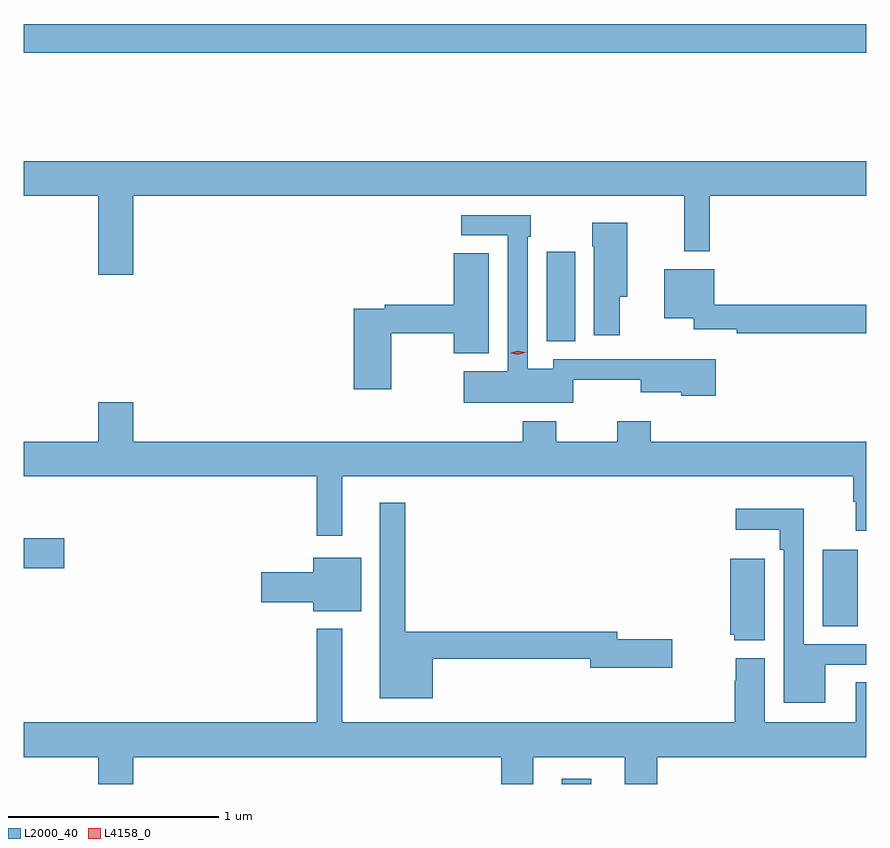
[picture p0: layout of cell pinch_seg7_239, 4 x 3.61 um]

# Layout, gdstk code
import gdstk
lib = gdstk.Library(unit=1e-6, precision=1e-09)
def R(c, l, rs):  # rectangles x0, y0, x1, y1
    for r in rs: c.add(gdstk.rectangle(r[:2], r[2:], *l))
def P(c, l, *ps):  # polygons
    for p in ps: c.add(gdstk.Polygon(p, *l))
L2000_40 = (2000, 40)
L4158_0 = (4158, 0)

pinch_seg7_239 = lib.new_cell('pinch_seg7_239')
R(pinch_seg7_239, L2000_40, [(826.547,1068.42,826.687,1068.445), (827.786,1069.168,827.953,1069.531), (823.993,1069.445,824.185,1069.587), (826.475,1070.521,826.612,1070.947), (823.993,1071.892,827.993,1072.028)])
P(pinch_seg7_239, L2000_40, [(824.512,1071.212),(827.128,1071.212),(827.128,1070.949),(827.249,1070.949),(827.249,1071.212),(827.993,1071.212),(827.993,1071.376),(823.993,1071.376),(823.993,1071.212),(824.348,1071.212),(824.348,1070.838),(824.512,1070.838)],
  [(826.602,1070.339),(826.922,1070.339),(826.922,1070.279),(827.115,1070.279),(827.115,1070.264),(827.279,1070.264),(827.279,1070.437),(827.026,1070.437),(827.026,1070.436),(826.506,1070.436),(826.506,1070.392),(826.386,1070.392),(826.386,1071.017),(826.399,1071.017),(826.399,1071.12),(826.071,1071.12),(826.071,1071.024),(826.29,1071.024),(826.29,1070.38),(826.083,1070.38),(826.083,1070.231),(826.602,1070.231)],
  [(826.822,1070.732),(826.858,1070.732),(826.858,1071.085),(826.693,1071.085),(826.693,1070.972),(826.7,1070.972),(826.7,1070.55),(826.822,1070.55)],
  [(825.738,1070.56),(826.034,1070.56),(826.034,1070.465),(826.201,1070.465),(826.201,1070.939),(826.034,1070.939),(826.034,1070.696),(825.706,1070.696),(825.706,1070.676),(825.56,1070.676),(825.56,1070.295),(825.738,1070.295)],
  [(827.993,1070.696),(827.271,1070.696),(827.271,1070.863),(827.033,1070.863),(827.033,1070.63),(827.175,1070.63),(827.175,1070.579),(827.378,1070.579),(827.378,1070.56),(827.993,1070.56)],
  [(825.505,1069.88),(827.93,1069.88),(827.93,1069.76),(827.942,1069.76),(827.942,1069.623),(827.993,1069.623),(827.993,1070.044),(826.97,1070.044),(826.97,1070.143),(826.81,1070.143),(826.81,1070.044),(826.521,1070.044),(826.521,1070.143),(826.361,1070.143),(826.361,1070.044),(824.512,1070.044),(824.512,1070.233),(824.348,1070.233),(824.348,1070.044),(823.993,1070.044),(823.993,1069.88),(825.384,1069.88),(825.384,1069.599),(825.505,1069.599)],
  [(825.934,1069.014),(826.682,1069.014),(826.682,1068.971),(827.071,1068.971),(827.071,1069.106),(826.81,1069.106),(826.81,1069.142),(825.805,1069.142),(825.805,1069.756),(825.683,1069.756),(825.683,1068.827),(825.934,1068.827)],
  [(827.797,1068.987),(827.993,1068.987),(827.993,1069.083),(827.697,1069.083),(827.697,1069.726),(827.373,1069.726),(827.373,1069.628),(827.581,1069.628),(827.581,1069.532),(827.601,1069.532),(827.601,1068.806),(827.797,1068.806)],
  [(825.595,1069.495),(825.368,1069.495),(825.368,1069.425),(825.12,1069.425),(825.12,1069.283),(825.368,1069.283),(825.368,1069.241),(825.595,1069.241)],
  [(827.512,1069.489),(827.348,1069.489),(827.348,1069.128),(827.367,1069.128),(827.367,1069.103),(827.512,1069.103)],
  [(824.512,1068.548),(826.259,1068.548),(826.259,1068.42),(826.411,1068.42),(826.411,1068.548),(826.847,1068.548),(826.847,1068.42),(827,1068.42),(827,1068.548),(827.993,1068.548),(827.993,1068.902),(827.942,1068.902),(827.942,1068.712),(827.512,1068.712),(827.512,1069.018),(827.374,1069.018),(827.374,1068.911),(827.369,1068.911),(827.369,1068.712),(825.505,1068.712),(825.505,1069.156),(825.384,1069.156),(825.384,1068.712),(823.993,1068.712),(823.993,1068.548),(824.348,1068.548),(824.348,1068.42),(824.512,1068.42)])
P(pinch_seg7_239, L4158_0, [(826.339,1070.458),(826.304,1070.466),(826.304,1070.466),(826.304,1070.467),(826.338,1070.477),(826.373,1070.469),(826.374,1070.469),(826.373,1070.468)])

lib.write_gds('pinch_seg7_239.gds')
